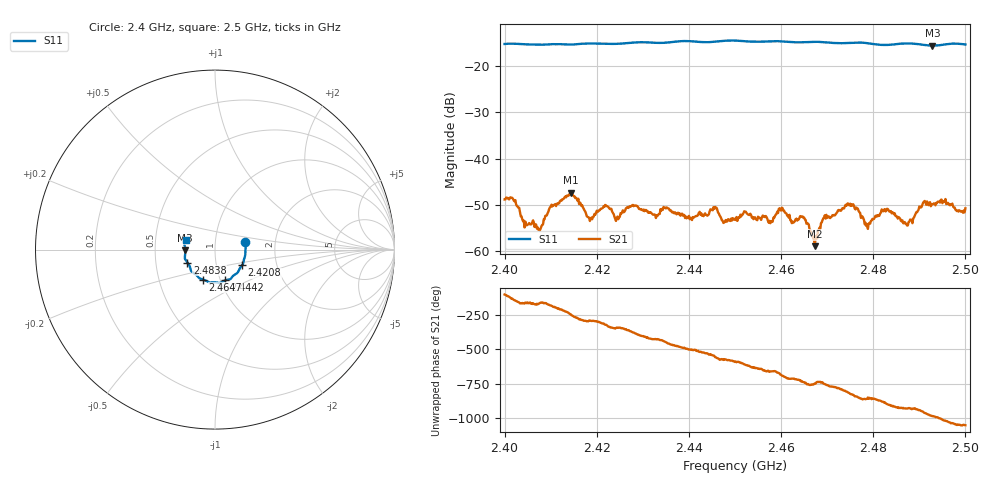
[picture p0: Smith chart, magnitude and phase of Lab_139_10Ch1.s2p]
# Hz S RI R 50
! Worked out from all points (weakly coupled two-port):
!   601 points, 2.4 GHz to 2.5 GHz, reference 50 ohm
!   highest |S21| = -47.35 dB at 2.4143 GHz (marker M1); lowest = -58.9 dB at 2.4673 GHz (marker M2)
!   lowest |S11| = -15.6 dB at 2.4928 GHz (marker M3), VSWR 1.40, Z = 35.8 - j0.337 ohm
!   |S11| at or under -10 dB: start of sweep to end of sweep
!   S12 and S22 are empty: the file has one direction only
!   S11 on the Smith chart (normalised r, x): 2.4 GHz: 1.40, +0.12; 2.4208 GHz: 1.33, -0.24; 2.4442 GHz: 1.05, -0.37; 2.4647 GHz: 0.83, -0.29; 2.4838 GHz: 0.73, -0.11; 2.5 GHz: 0.72, +0.08
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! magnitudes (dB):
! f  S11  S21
! 2.4 GHz  -15.3  -48.8
! 2.4075 GHz  -15.4  -55.3
! 2.4102 GHz  -15.3  -49.9
! 2.4143 GHz  -15.4  -47.4
! 2.4167 GHz  -15.2  -50.2
! 2.4185 GHz  -15.2  -53.5
! 2.4208 GHz  -15.2  -50.8
! 2.4333 GHz  -15.0  -52.1
! 2.4442 GHz  -14.9  -52.2
! 2.45 GHz  -14.5  -52.9
! 2.46 GHz  -14.7  -51.2
! 2.4647 GHz  -14.9  -52.5
! 2.4667 GHz  -14.8  -55.9
! 2.4673 GHz  -14.8  -58.9
! 2.4693 GHz  -14.9  -52.7
! 2.4745 GHz  -15.0  -49.7
! 2.4787 GHz  -15.1  -54.2
! 2.4833 GHz  -15.5  -51.1
! 2.4838 GHz  -15.4  -51.3
! 2.487 GHz  -15.1  -54.0
! 2.4928 GHz  -15.6  -49.8
! 2.5 GHz  -15.4  -50.7
